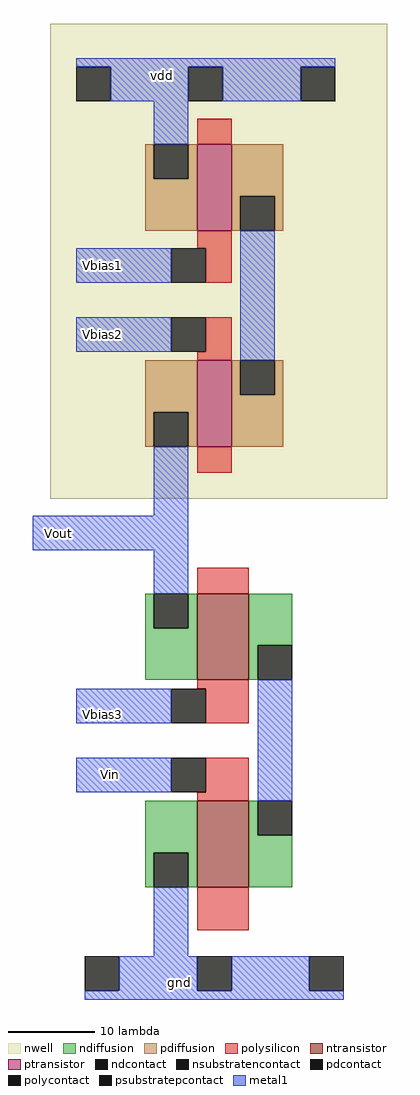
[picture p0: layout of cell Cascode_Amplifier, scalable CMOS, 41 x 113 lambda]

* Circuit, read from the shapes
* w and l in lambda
.subckt Cascode_Amplifier Vbias1 Vbias2 Vbias3 Vin Vout gnd vdd
M1 n1 Vin gnd gnd nfet w=10 l=6
M2 n1 Vbias3 Vout gnd nfet w=10 l=6
M3 n2 Vbias2 Vout vdd pfet w=10 l=4
M4 n2 Vbias1 vdd vdd pfet w=10 l=4
.ends

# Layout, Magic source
magic
tech scmos
<< nwell >>
rect -10 -37 29 18
<< polysilicon >>
rect 7 4 11 7
rect 7 -8 11 -6
rect 8 -12 11 -8
rect 8 -20 11 -16
rect 7 -21 11 -20
rect 7 -34 11 -31
rect 7 -48 13 -45
rect 7 -59 13 -58
rect 8 -63 13 -59
rect 8 -71 13 -67
rect 7 -72 13 -71
rect 7 -87 13 -82
<< ndiffusion >>
rect 1 -52 2 -48
rect 6 -52 7 -48
rect 1 -58 7 -52
rect 13 -54 18 -48
rect 13 -58 14 -54
rect 1 -78 7 -72
rect 1 -82 2 -78
rect 6 -82 7 -78
rect 13 -76 14 -72
rect 13 -82 18 -76
<< pdiffusion >>
rect 1 0 2 4
rect 6 0 7 4
rect 1 -6 7 0
rect 11 -2 17 4
rect 11 -6 12 -2
rect 16 -6 17 -2
rect 1 -27 7 -21
rect 1 -31 2 -27
rect 6 -31 7 -27
rect 11 -25 12 -21
rect 16 -25 17 -21
rect 11 -31 17 -25
<< metal1 >>
rect -7 13 23 14
rect -3 9 6 13
rect 10 9 19 13
rect 2 4 6 9
rect -7 -12 4 -8
rect -7 -20 4 -16
rect 12 -21 16 -6
rect 2 -39 6 -31
rect -12 -43 6 -39
rect 2 -48 6 -43
rect -7 -63 4 -59
rect -7 -71 4 -67
rect 14 -72 18 -58
rect 2 -90 6 -82
rect -2 -94 7 -90
rect 11 -94 20 -90
rect -6 -95 24 -94
<< ntransistor >>
rect 7 -58 13 -48
rect 7 -82 13 -72
<< ptransistor >>
rect 7 -6 11 4
rect 7 -31 11 -21
<< polycontact >>
rect 4 -12 8 -8
rect 4 -20 8 -16
rect 4 -63 8 -59
rect 4 -71 8 -67
<< ndcontact >>
rect 2 -52 6 -48
rect 14 -58 18 -54
rect 2 -82 6 -78
rect 14 -76 18 -72
<< pdcontact >>
rect 2 0 6 4
rect 12 -6 16 -2
rect 2 -31 6 -27
rect 12 -25 16 -21
<< psubstratepcontact >>
rect -6 -94 -2 -90
rect 7 -94 11 -90
rect 20 -94 24 -90
<< nsubstratencontact >>
rect -7 9 -3 13
rect 6 9 10 13
rect 19 9 23 13
<< labels >>
rlabel metal1 3 12 3 12 1 vdd
rlabel metal1 5 -93 5 -93 1 gnd
rlabel metal1 -3 -69 -3 -69 1 Vin
rlabel metal1 -4 -62 -4 -62 1 Vbias3
rlabel metal1 -9 -41 -9 -41 3 Vout
rlabel metal1 -4 -18 -4 -18 1 Vbias2
rlabel metal1 -4 -10 -4 -10 1 Vbias1
<< end >>
